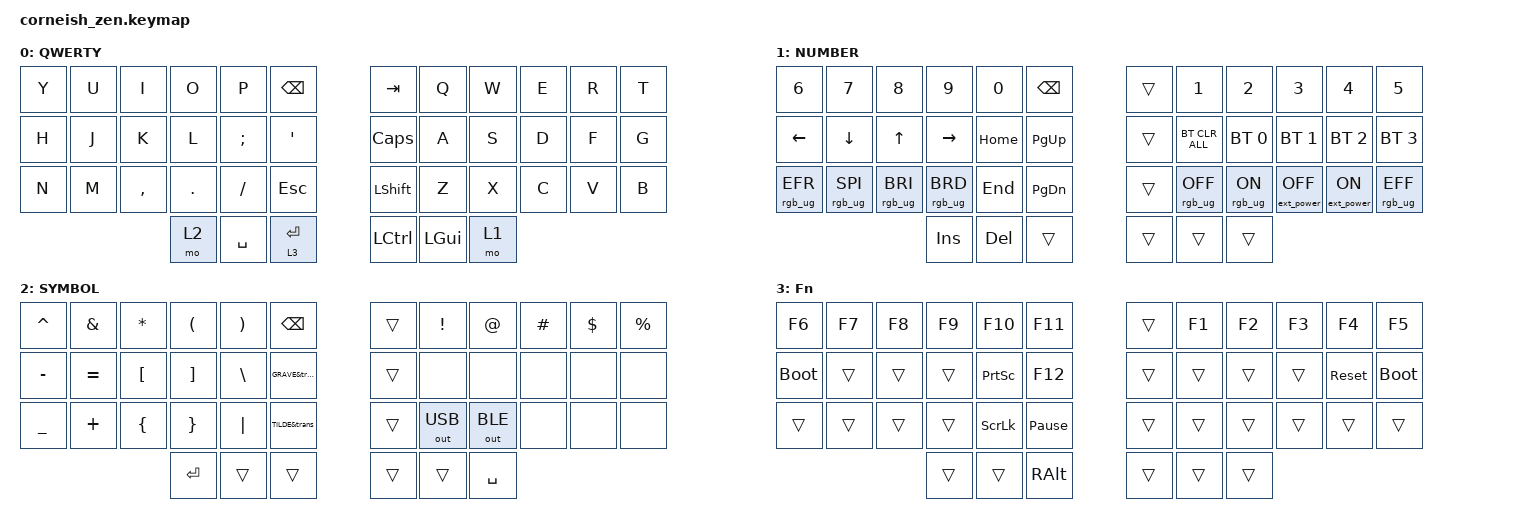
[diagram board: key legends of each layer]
/*
 * Copyright (c) 2020 The ZMK Contributors
 *
 * SPDX-License-Identifier: MIT
 */

#include <behaviors.dtsi>
#include <dt-bindings/zmk/bt.h>
#include <dt-bindings/zmk/ext_power.h>
#include <dt-bindings/zmk/keys.h>
#include <dt-bindings/zmk/outputs.h>
#include <dt-bindings/zmk/rgb.h>

/ {
    chosen {
        zmk,matrix_transform = &default_transform;

        // zmk,matrix_transform = &five_column_transform;
    };
};

/ {
    behaviors {
        td0: td0 {
            compatible = "zmk,behavior-tap-dance";
            label = "TD0";
            #binding-cells = <0>;
            bindings = <&kp LEFT_SHIFT>, <&kp CAPS>;
        };
    };

    keymap {
        compatible = "zmk,keymap";

        default_layer {
            display-name = "QWERTY";

            // --------------------------------------------------------------------------------
            // |  Y  |  U  |  I  |  O  |  P  | BKSP |   |  TAP |  Q   |  W  |  E  |  R  |  T  |
            // |  H  |  J  |  K  |  L  |  ;  |  '   |   | CTRL |  A   |  S  |  D  |  F  |  G  | 
            // |  N  |  M  |  ,  |  .  |  /  | ESC  |   | CAPS |  Z   |  X  |  C  |  V  |  B  |
            //                   | RSE | SPC | ENT  |   | CTRL | WIN  | LWR |

            bindings = <
&kp Y      &kp U  &kp I      &kp O    &kp P     &kp BSPC          &kp TAB      &kp Q     &kp W    &kp E    &kp R     &kp T
&kp H      &kp J  &kp K      &kp L    &kp SEMI  &kp SQT           &kp CAPS    &kp A     &kp S    &kp D    &kp F     &kp G
&kp N      &kp M  &kp COMMA  &kp DOT  &kp FSLH  &kp ESC           &kp LSHFT    &kp Z     &kp X    &kp C    &kp V     &kp B
                             &mo 2    &kp SPACE &lt 3 ENTER       &kp LCTRL    &kp LGUI  &mo 1
            >;
        };

        lower_layer {
            display-name = "NUMBER";

            // -----------------------------------------------------------------------------------------
            // |  TAB |  1  |  2  |  3  |  4  |  5  |   |  6  |  7  |  8  |  9  |  0  | BKSP |
            // | BTCLR| BT1 | BT2 | BT3 | BT4 | BT5 |   | LFT | DWN |  UP | RGT |     |      |
            // | SHFT |     |     |     |     |     |   |     |     |     |     |     |      |
            //                    | GUI |     | SPC |   | ENT |     | ALT |

            bindings = <
&kp N6           &kp N7           &kp N8           &kp N9           &kp N0     &kp BSPC     &trans  &kp N1           &kp N2          &kp N3             &kp N4            &kp N5         
&kp LEFT         &kp DOWN         &kp UP           &kp RIGHT        &kp HOME   &kp PG_UP    &trans  &bt BT_CLR_ALL   &bt BT_SEL 0    &bt BT_SEL 1       &bt BT_SEL 2      &bt BT_SEL 3       
&rgb_ug RGB_EFR  &rgb_ug RGB_SPI  &rgb_ug RGB_BRI  &rgb_ug RGB_BRD  &kp END    &kp PG_DN    &trans  &rgb_ug RGB_OFF  &rgb_ug RGB_ON  &ext_power EP_OFF  &ext_power EP_ON  &rgb_ug RGB_EFF    
                 &kp INS          &kp DEL          &trans           &trans       &trans  &trans      
            >;
        };

        raise_layer {
            display-name = "SYMBOL";

            // -----------------------------------------------------------------------------------------
            // |  TAB |  !  |  @  |  #  |  $  |  %  |   |  ^  |  &  |  *  |  (  |  )  | BKSP |
            // | CTRL |     |     |     |     |     |   |  -  |  =  |  [  |  ]  |  \  |  `   |
            // | SHFT |     |     |     |     |     |   |  _  |  +  |  {  |  }  | "|" |  ~   |
            //                    | GUI |     | SPC |   | ENT |     | ALT |

            bindings = <
&kp CARET  &kp AMPS   &kp ASTRK  &kp LPAR  &kp RPAR  &kp BSPC             &trans    &kp EXCL      &kp AT        &kp HASH  &kp DLLR  &kp PRCNT   
&kp MINUS  &kp EQUAL  &kp LBKT   &kp RBKT  &kp BSLH  &kp GRAVE&trans      &trans    &none         &none         &none     &none     &none       
&kp UNDER  &kp PLUS   &kp LBRC   &kp RBRC  &kp PIPE  &kp TILDE&trans      &trans    &out OUT_USB  &out OUT_BLE  &none     &none     &none        
                                 &kp RET    &trans     &trans             &trans    &trans        &kp SPACE   
            >;
        };

        layer_3 {
            display-name = "Fn";
            bindings = <
&kp F6       &kp F7  &kp F8  &kp F9  &kp F10          &kp F11          &trans  &kp F1  &kp F2  &kp F3  &kp F4      &kp F5        
&bootloader  &trans  &trans  &trans  &kp PRINTSCREEN  &kp F12          &trans  &trans  &trans  &trans  &sys_reset  &bootloader   
&trans       &trans  &trans  &trans  &kp SCROLLLOCK   &kp PAUSE_BREAK  &trans  &trans  &trans  &trans  &trans      &trans              
                             &trans  &trans           &kp RALT         &trans  &trans  &trans
            >;
        };
    };
};
